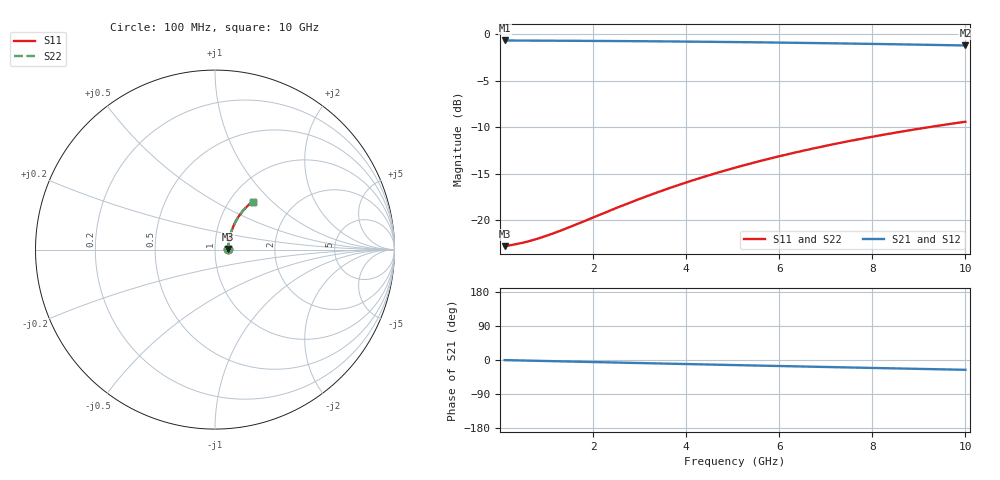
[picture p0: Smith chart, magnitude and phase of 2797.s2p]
# Hz S RI R 50.00
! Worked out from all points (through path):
!   100 points, 100 MHz to 10 GHz, reference 50 ohm
!   highest |S21| = -0.65 dB at 100 MHz (marker M1); lowest = -1.2 dB at 10 GHz (marker M2)
!   group delay of S21, straight-line fit = 7.2 ps
!   lowest |S11| = -22.8 dB at 100 MHz (marker M3), VSWR 1.16, Z = 57.8 + j0.376 ohm
!   |S11| at or under -10 dB: start of sweep to 9.201 GHz
!   |S22| runs from -22.8 to -9.4 dB; largest |S21 - S12| = 0
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1e8  0.0724 0.00323  0.9276 -0.00436  0.9276 -0.00436  0.0724 0.00323
3e8  0.0733 0.00968  0.9267 -0.0131  0.9267 -0.0131  0.0733 0.00968
5e8  0.074 0.0161  0.926 -0.0217  0.926 -0.0217  0.074 0.0161
8e8  0.0751 0.0257  0.9248 -0.0347  0.9248 -0.0347  0.0751 0.0257
1e9  0.0759 0.0321  0.924 -0.0433  0.924 -0.0433  0.0759 0.0321
1.2e9  0.0768 0.0385  0.9231 -0.052  0.9231 -0.052  0.0768 0.0385
1.5e9  0.0783 0.048  0.9215 -0.0648  0.9215 -0.0648  0.0783 0.048
1.8e9  0.0801 0.0574  0.9197 -0.0777  0.9197 -0.0777  0.0801 0.0574
2.7e9  0.0867 0.0854  0.9128 -0.1157  0.9128 -0.1157  0.0867 0.0854
3.1e9  0.0904 0.0975  0.909 -0.1324  0.909 -0.1324  0.0904 0.0975
3.4e9  0.0934 0.1066  0.9058 -0.1448  0.9058 -0.1448  0.0934 0.1066
3.8e9  0.0977 0.1184  0.9013 -0.1612  0.9013 -0.1612  0.0977 0.1184
4.2e9  0.1025 0.1301  0.8963 -0.1773  0.8963 -0.1773  0.1025 0.1301
4.6e9  0.1077 0.1415  0.8909 -0.1933  0.8909 -0.1933  0.1077 0.1415
5.1e9  0.1147 0.1554  0.8836 -0.2129  0.8836 -0.2129  0.1147 0.1554
5.5e9  0.1207 0.1662  0.8773 -0.2282  0.8773 -0.2282  0.1207 0.1662
5.9e9  0.127 0.1768  0.8706 -0.2433  0.8706 -0.2433  0.127 0.1768
6.7e9  0.1408 0.1971  0.8562 -0.2727  0.8562 -0.2727  0.1408 0.1971
7.5e9  0.1557 0.2161  0.8405 -0.3008  0.8405 -0.3008  0.1557 0.2161
8.4e9  0.1739 0.2359  0.8214 -0.3309  0.8214 -0.3309  0.1739 0.2359
9.2e9  0.191 0.252  0.8033 -0.3561  0.8033 -0.3561  0.191 0.252
1e10  0.2089 0.2667  0.7843 -0.38  0.7843 -0.38  0.2089 0.2667
